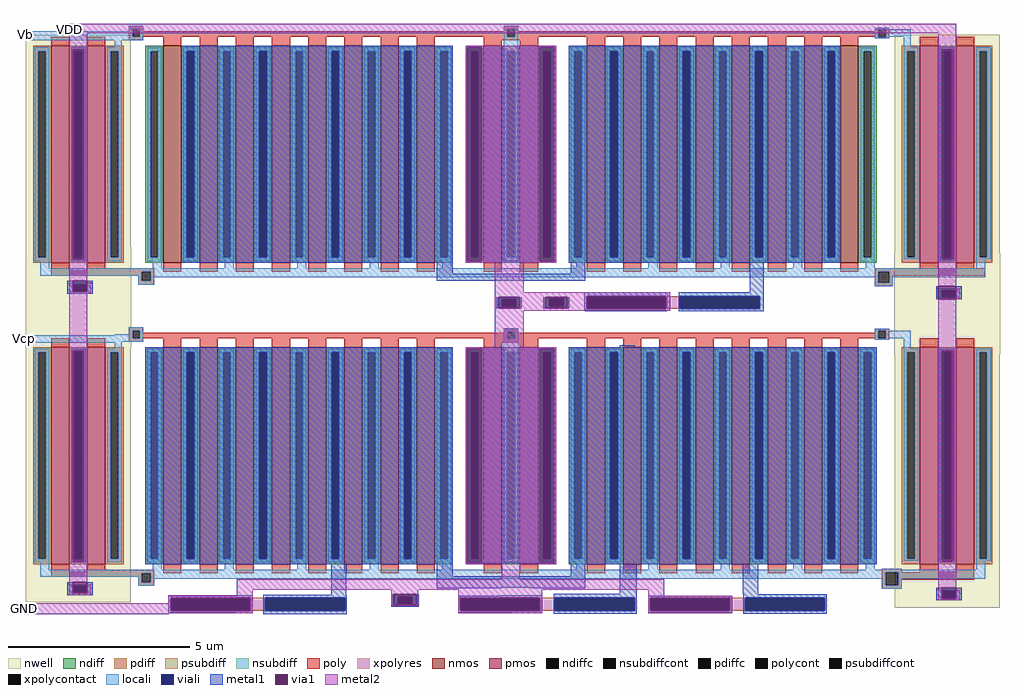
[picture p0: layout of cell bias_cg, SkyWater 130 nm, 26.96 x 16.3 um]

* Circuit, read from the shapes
.subckt bias_cg Vb Vcp GND VDD
XM1 n1 Vcp n2 GND sky130_fd_pr__nfet_01v8 w=6 l=0.5 m=16
XM2 n3 Vb n4 GND sky130_fd_pr__nfet_01v8 w=6 l=0.5 m=16
XM3 Vcp Vcp GND GND sky130_fd_pr__nfet_01v8 w=6 l=0.5 m=2
XM4 Vb Vb GND GND sky130_fd_pr__nfet_01v8 w=6 l=0.5 m=2
XM5 VDD n2 n2 VDD sky130_fd_pr__pfet_01v8 w=6 l=0.5 m=2
XM6 VDD n4 n4 VDD sky130_fd_pr__pfet_01v8 w=6 l=0.5 m=2
XM7 Vcp n2 VDD VDD sky130_fd_pr__pfet_01v8 w=6 l=0.5 m=2
XM8 Vb n4 VDD VDD sky130_fd_pr__pfet_01v8 w=6 l=0.5 m=2
XR9 n1 GND GND sky130_fd_pr__res_xhigh_po w=0.35 l=0.42 m=3
XR10 n3 GND GND sky130_fd_pr__res_xhigh_po w=0.35 l=0.385
.ends

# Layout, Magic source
magic
tech sky130A
magscale 1 2
<< nwell >>
rect -760 90 -180 1260
rect -761 -469 -177 90
rect 4040 53 4620 1260
rect -760 -1875 -180 -469
rect 4038 -506 4622 53
rect 4040 -1905 4620 -506
<< nmos >>
rect 0 0 100 1200
rect 200 0 300 1200
rect 400 0 500 1200
rect 600 0 700 1200
rect 800 0 900 1200
rect 1000 0 1100 1200
rect 1200 0 1300 1200
rect 1400 0 1500 1200
rect 1770 0 1870 1200
rect 1970 0 2070 1200
rect 2340 0 2440 1200
rect 2540 0 2640 1200
rect 2740 0 2840 1200
rect 2940 0 3040 1200
rect 3140 0 3240 1200
rect 3340 0 3440 1200
rect 3540 0 3640 1200
rect 3740 0 3840 1200
rect 0 -1665 100 -465
rect 200 -1665 300 -465
rect 400 -1665 500 -465
rect 600 -1665 700 -465
rect 800 -1665 900 -465
rect 1000 -1665 1100 -465
rect 1200 -1665 1300 -465
rect 1400 -1665 1500 -465
rect 1770 -1665 1870 -465
rect 1970 -1665 2070 -465
rect 2340 -1665 2440 -465
rect 2540 -1665 2640 -465
rect 2740 -1665 2840 -465
rect 2940 -1665 3040 -465
rect 3140 -1665 3240 -465
rect 3340 -1665 3440 -465
rect 3540 -1665 3640 -465
rect 3740 -1665 3840 -465
<< pmos >>
rect -620 0 -520 1200
rect -420 0 -320 1200
rect 4180 0 4280 1200
rect 4380 0 4480 1200
rect -620 -1665 -520 -465
rect -420 -1665 -320 -465
rect 4180 -1665 4280 -465
rect 4380 -1665 4480 -465
<< ndiff >>
rect -100 1170 0 1200
rect -100 30 -70 1170
rect -30 30 0 1170
rect -100 0 0 30
rect 100 1170 200 1200
rect 100 30 130 1170
rect 170 30 200 1170
rect 100 0 200 30
rect 300 1170 400 1200
rect 300 30 330 1170
rect 370 30 400 1170
rect 300 0 400 30
rect 500 1170 600 1200
rect 500 30 530 1170
rect 570 30 600 1170
rect 500 0 600 30
rect 700 1170 800 1200
rect 700 30 730 1170
rect 770 30 800 1170
rect 700 0 800 30
rect 900 1170 1000 1200
rect 900 30 930 1170
rect 970 30 1000 1170
rect 900 0 1000 30
rect 1100 1170 1200 1200
rect 1100 30 1130 1170
rect 1170 30 1200 1170
rect 1100 0 1200 30
rect 1300 1170 1400 1200
rect 1300 30 1330 1170
rect 1370 30 1400 1170
rect 1300 0 1400 30
rect 1500 1170 1600 1200
rect 1500 30 1530 1170
rect 1570 30 1600 1170
rect 1500 0 1600 30
rect 1670 1170 1770 1200
rect 1670 30 1700 1170
rect 1740 30 1770 1170
rect 1670 0 1770 30
rect 1870 1170 1970 1200
rect 1870 30 1900 1170
rect 1940 30 1970 1170
rect 1870 0 1970 30
rect 2070 1170 2170 1200
rect 2070 30 2100 1170
rect 2140 30 2170 1170
rect 2070 0 2170 30
rect 2240 1170 2340 1200
rect 2240 30 2270 1170
rect 2310 30 2340 1170
rect 2240 0 2340 30
rect 2440 1170 2540 1200
rect 2440 30 2470 1170
rect 2510 30 2540 1170
rect 2440 0 2540 30
rect 2640 1170 2740 1200
rect 2640 30 2670 1170
rect 2710 30 2740 1170
rect 2640 0 2740 30
rect 2840 1170 2940 1200
rect 2840 30 2870 1170
rect 2910 30 2940 1170
rect 2840 0 2940 30
rect 3040 1170 3140 1200
rect 3040 30 3070 1170
rect 3110 30 3140 1170
rect 3040 0 3140 30
rect 3240 1170 3340 1200
rect 3240 30 3270 1170
rect 3310 30 3340 1170
rect 3240 0 3340 30
rect 3440 1170 3540 1200
rect 3440 30 3470 1170
rect 3510 30 3540 1170
rect 3440 0 3540 30
rect 3640 1170 3740 1200
rect 3640 30 3670 1170
rect 3710 30 3740 1170
rect 3640 0 3740 30
rect 3840 1170 3940 1200
rect 3840 30 3870 1170
rect 3910 30 3940 1170
rect 3840 0 3940 30
rect -100 -495 0 -465
rect -100 -1635 -70 -495
rect -30 -1635 0 -495
rect -100 -1665 0 -1635
rect 100 -495 200 -465
rect 100 -1635 130 -495
rect 170 -1635 200 -495
rect 100 -1665 200 -1635
rect 300 -495 400 -465
rect 300 -1635 330 -495
rect 370 -1635 400 -495
rect 300 -1665 400 -1635
rect 500 -495 600 -465
rect 500 -1635 530 -495
rect 570 -1635 600 -495
rect 500 -1665 600 -1635
rect 700 -495 800 -465
rect 700 -1635 730 -495
rect 770 -1635 800 -495
rect 700 -1665 800 -1635
rect 900 -495 1000 -465
rect 900 -1635 930 -495
rect 970 -1635 1000 -495
rect 900 -1665 1000 -1635
rect 1100 -495 1200 -465
rect 1100 -1635 1130 -495
rect 1170 -1635 1200 -495
rect 1100 -1665 1200 -1635
rect 1300 -495 1400 -465
rect 1300 -1635 1330 -495
rect 1370 -1635 1400 -495
rect 1300 -1665 1400 -1635
rect 1500 -495 1600 -465
rect 1500 -1635 1530 -495
rect 1570 -1635 1600 -495
rect 1500 -1665 1600 -1635
rect 1670 -495 1770 -465
rect 1670 -1635 1700 -495
rect 1740 -1635 1770 -495
rect 1670 -1665 1770 -1635
rect 1870 -495 1970 -465
rect 1870 -1635 1900 -495
rect 1940 -1635 1970 -495
rect 1870 -1665 1970 -1635
rect 2070 -495 2170 -465
rect 2070 -1635 2100 -495
rect 2140 -1635 2170 -495
rect 2070 -1665 2170 -1635
rect 2240 -495 2340 -465
rect 2240 -1635 2270 -495
rect 2310 -1635 2340 -495
rect 2240 -1665 2340 -1635
rect 2440 -495 2540 -465
rect 2440 -1635 2470 -495
rect 2510 -1635 2540 -495
rect 2440 -1665 2540 -1635
rect 2640 -495 2740 -465
rect 2640 -1635 2670 -495
rect 2710 -1635 2740 -495
rect 2640 -1665 2740 -1635
rect 2840 -495 2940 -465
rect 2840 -1635 2870 -495
rect 2910 -1635 2940 -495
rect 2840 -1665 2940 -1635
rect 3040 -495 3140 -465
rect 3040 -1635 3070 -495
rect 3110 -1635 3140 -495
rect 3040 -1665 3140 -1635
rect 3240 -495 3340 -465
rect 3240 -1635 3270 -495
rect 3310 -1635 3340 -495
rect 3240 -1665 3340 -1635
rect 3440 -495 3540 -465
rect 3440 -1635 3470 -495
rect 3510 -1635 3540 -495
rect 3440 -1665 3540 -1635
rect 3640 -495 3740 -465
rect 3640 -1635 3670 -495
rect 3710 -1635 3740 -495
rect 3640 -1665 3740 -1635
rect 3840 -495 3940 -465
rect 3840 -1635 3870 -495
rect 3910 -1635 3940 -495
rect 3840 -1665 3940 -1635
<< pdiff >>
rect -720 1170 -620 1200
rect -720 30 -690 1170
rect -650 30 -620 1170
rect -720 0 -620 30
rect -520 1170 -420 1200
rect -520 30 -490 1170
rect -450 30 -420 1170
rect -520 0 -420 30
rect -320 1170 -220 1200
rect -320 30 -290 1170
rect -250 30 -220 1170
rect -320 0 -220 30
rect 4080 1170 4180 1200
rect 4080 30 4110 1170
rect 4150 30 4180 1170
rect 4080 0 4180 30
rect 4280 1170 4380 1200
rect 4280 30 4310 1170
rect 4350 30 4380 1170
rect 4280 0 4380 30
rect 4480 1170 4580 1200
rect 4480 30 4510 1170
rect 4550 30 4580 1170
rect 4480 0 4580 30
rect -720 -495 -620 -465
rect -720 -1635 -690 -495
rect -650 -1635 -620 -495
rect -720 -1665 -620 -1635
rect -520 -495 -420 -465
rect -520 -1635 -490 -495
rect -450 -1635 -420 -495
rect -520 -1665 -420 -1635
rect -320 -495 -220 -465
rect -320 -1635 -290 -495
rect -250 -1635 -220 -495
rect -320 -1665 -220 -1635
rect 4080 -495 4180 -465
rect 4080 -1635 4110 -495
rect 4150 -1635 4180 -495
rect 4080 -1665 4180 -1635
rect 4280 -495 4380 -465
rect 4280 -1635 4310 -495
rect 4350 -1635 4380 -495
rect 4280 -1665 4380 -1635
rect 4480 -495 4580 -465
rect 4480 -1635 4510 -495
rect 4550 -1635 4580 -495
rect 4480 -1665 4580 -1635
<< ndiffc >>
rect -70 30 -30 1170
rect 130 30 170 1170
rect 330 30 370 1170
rect 530 30 570 1170
rect 730 30 770 1170
rect 930 30 970 1170
rect 1130 30 1170 1170
rect 1330 30 1370 1170
rect 1530 30 1570 1170
rect 1700 30 1740 1170
rect 1900 30 1940 1170
rect 2100 30 2140 1170
rect 2270 30 2310 1170
rect 2470 30 2510 1170
rect 2670 30 2710 1170
rect 2870 30 2910 1170
rect 3070 30 3110 1170
rect 3270 30 3310 1170
rect 3470 30 3510 1170
rect 3670 30 3710 1170
rect 3870 30 3910 1170
rect -70 -1635 -30 -495
rect 130 -1635 170 -495
rect 330 -1635 370 -495
rect 530 -1635 570 -495
rect 730 -1635 770 -495
rect 930 -1635 970 -495
rect 1130 -1635 1170 -495
rect 1330 -1635 1370 -495
rect 1530 -1635 1570 -495
rect 1700 -1635 1740 -495
rect 1900 -1635 1940 -495
rect 2100 -1635 2140 -495
rect 2270 -1635 2310 -495
rect 2470 -1635 2510 -495
rect 2670 -1635 2710 -495
rect 2870 -1635 2910 -495
rect 3070 -1635 3110 -495
rect 3270 -1635 3310 -495
rect 3470 -1635 3510 -495
rect 3670 -1635 3710 -495
rect 3870 -1635 3910 -495
<< pdiffc >>
rect -690 30 -650 1170
rect -490 30 -450 1170
rect -290 30 -250 1170
rect 4110 30 4150 1170
rect 4310 30 4350 1170
rect 4510 30 4550 1170
rect -690 -1635 -650 -495
rect -490 -1635 -450 -495
rect -290 -1635 -250 -495
rect 4110 -1635 4150 -495
rect 4310 -1635 4350 -495
rect 4510 -1635 4550 -495
<< psubdiff >>
rect 1840 -200 1980 -190
rect 1840 -240 1870 -200
rect 1950 -240 1980 -200
rect 1840 -250 1980 -240
rect 2099 -199 2241 -190
rect 2099 -239 2131 -199
rect 2211 -239 2241 -199
rect 2099 -250 2241 -239
rect 1266 -1844 1406 -1834
rect 1266 -1884 1296 -1844
rect 1376 -1884 1406 -1844
rect 1266 -1894 1406 -1884
<< nsubdiff >>
rect -530 -120 -390 -110
rect -530 -160 -500 -120
rect -420 -160 -390 -120
rect -530 -170 -390 -160
rect 4270 -150 4410 -140
rect 4270 -190 4300 -150
rect 4380 -190 4410 -150
rect 4270 -200 4410 -190
rect -530 -1785 -390 -1775
rect -530 -1825 -500 -1785
rect -420 -1825 -390 -1785
rect -530 -1835 -390 -1825
rect 4270 -1815 4410 -1805
rect 4270 -1855 4300 -1815
rect 4380 -1855 4410 -1815
rect 4270 -1865 4410 -1855
<< psubdiffcont >>
rect 1870 -240 1950 -200
rect 2131 -239 2211 -199
rect 1296 -1884 1376 -1844
<< nsubdiffcont >>
rect -500 -160 -420 -120
rect 4300 -190 4380 -150
rect -500 -1825 -420 -1785
rect 4300 -1855 4380 -1815
<< poly >>
rect -190 1290 -110 1310
rect -190 1250 -170 1290
rect -130 1280 -110 1290
rect 1880 1290 1960 1310
rect 1880 1280 1900 1290
rect -130 1250 1900 1280
rect 1940 1280 1960 1290
rect 3930 1290 4010 1300
rect 3930 1280 3950 1290
rect 1940 1250 3950 1280
rect 3990 1250 4010 1290
rect -620 1200 -520 1250
rect -420 1200 -320 1250
rect -190 1230 -110 1250
rect 0 1200 100 1250
rect 200 1200 300 1250
rect 400 1200 500 1250
rect 600 1200 700 1250
rect 800 1200 900 1250
rect 1000 1200 1100 1250
rect 1200 1200 1300 1250
rect 1400 1200 1500 1250
rect 1770 1230 2070 1250
rect 1770 1200 1870 1230
rect 1970 1200 2070 1230
rect 2340 1200 2440 1250
rect 2540 1200 2640 1250
rect 2740 1200 2840 1250
rect 2940 1200 3040 1250
rect 3140 1200 3240 1250
rect 3340 1200 3440 1250
rect 3540 1200 3640 1250
rect 3740 1200 3840 1250
rect 3930 1240 4010 1250
rect 4180 1200 4280 1250
rect 4380 1200 4480 1250
rect -620 -40 -520 0
rect -420 -30 -320 0
rect -420 -40 -50 -30
rect -620 -50 -50 -40
rect 0 -50 100 0
rect 200 -50 300 0
rect 400 -50 500 0
rect 600 -50 700 0
rect 800 -50 900 0
rect 1000 -50 1100 0
rect 1200 -50 1300 0
rect 1400 -50 1500 0
rect 1770 -50 1870 0
rect 1970 -50 2070 0
rect 2340 -50 2440 0
rect 2540 -50 2640 0
rect 2740 -50 2840 0
rect 2940 -50 3040 0
rect 3140 -50 3240 0
rect 3340 -50 3440 0
rect 3540 -50 3640 0
rect 3740 -50 3840 0
rect 4180 -30 4280 0
rect 4380 -30 4480 0
rect 3930 -50 4540 -30
rect -620 -70 -120 -50
rect -140 -100 -120 -70
rect -70 -100 -50 -50
rect -140 -120 -50 -100
rect 3930 -110 3950 -50
rect 4010 -70 4540 -50
rect 4010 -110 4030 -70
rect 3930 -130 4030 -110
rect -190 -375 -110 -355
rect -190 -415 -170 -375
rect -130 -385 -110 -375
rect 1880 -380 1960 -360
rect 1880 -385 1900 -380
rect -130 -415 1900 -385
rect -620 -465 -520 -415
rect -420 -465 -320 -415
rect -190 -435 -110 -415
rect 0 -465 100 -415
rect 200 -465 300 -415
rect 400 -465 500 -415
rect 600 -465 700 -415
rect 800 -465 900 -415
rect 1000 -465 1100 -415
rect 1200 -465 1300 -415
rect 1400 -465 1500 -415
rect 1770 -420 1900 -415
rect 1940 -385 1960 -380
rect 3930 -375 4010 -365
rect 3930 -385 3950 -375
rect 1940 -415 3950 -385
rect 3990 -415 4010 -375
rect 1940 -420 2070 -415
rect 1770 -440 2070 -420
rect 1770 -465 1870 -440
rect 1970 -465 2070 -440
rect 2340 -465 2440 -415
rect 2540 -465 2640 -415
rect 2740 -465 2840 -415
rect 2940 -465 3040 -415
rect 3140 -465 3240 -415
rect 3340 -465 3440 -415
rect 3540 -465 3640 -415
rect 3740 -465 3840 -415
rect 3930 -425 4010 -415
rect 4180 -465 4280 -415
rect 4380 -465 4480 -415
rect -620 -1705 -520 -1665
rect -420 -1695 -320 -1665
rect -420 -1705 -50 -1695
rect -620 -1715 -50 -1705
rect 0 -1715 100 -1665
rect 200 -1715 300 -1665
rect 400 -1715 500 -1665
rect 600 -1715 700 -1665
rect 800 -1715 900 -1665
rect 1000 -1715 1100 -1665
rect 1200 -1715 1300 -1665
rect 1400 -1715 1500 -1665
rect 1770 -1715 1870 -1665
rect 1970 -1715 2070 -1665
rect 2340 -1715 2440 -1665
rect 2540 -1715 2640 -1665
rect 2740 -1715 2840 -1665
rect 2940 -1715 3040 -1665
rect 3140 -1715 3240 -1665
rect 3340 -1715 3440 -1665
rect 3540 -1715 3640 -1665
rect 3740 -1715 3840 -1665
rect 3970 -1710 4080 -1690
rect 4180 -1705 4280 -1665
rect 4380 -1705 4480 -1665
rect 4180 -1710 4480 -1705
rect -620 -1735 -120 -1715
rect -140 -1765 -120 -1735
rect -70 -1765 -50 -1715
rect -140 -1785 -50 -1765
rect 3970 -1780 3990 -1710
rect 4060 -1750 4480 -1710
rect 4060 -1780 4080 -1750
rect 3970 -1800 4080 -1780
<< polycont >>
rect -170 1250 -130 1290
rect 1900 1250 1940 1290
rect 3950 1250 3990 1290
rect -120 -100 -70 -50
rect 3950 -110 4010 -50
rect -170 -415 -130 -375
rect 1900 -420 1940 -380
rect 3950 -415 3990 -375
rect -120 -1765 -70 -1715
rect 3990 -1780 4060 -1710
<< xpolycontact >>
rect 2339 -253 2779 -183
rect 2856 -253 3296 -183
rect 40 -1921 480 -1851
rect 564 -1921 1004 -1851
rect 1640 -1921 2080 -1851
rect 2164 -1921 2604 -1851
rect 2690 -1921 3130 -1851
rect 3214 -1921 3654 -1851
<< xpolyres >>
rect 2779 -253 2856 -183
rect 480 -1921 564 -1851
rect 2080 -1921 2164 -1851
rect 3130 -1921 3214 -1851
<< locali >>
rect -190 1290 -110 1310
rect -190 1280 -170 1290
rect -760 1250 -170 1280
rect -130 1250 -110 1290
rect -760 1230 -110 1250
rect 1880 1290 1960 1310
rect 1880 1250 1900 1290
rect 1940 1250 1960 1290
rect -270 1190 -230 1230
rect -710 1170 -630 1190
rect -710 30 -690 1170
rect -650 30 -630 1170
rect -710 10 -630 30
rect -510 1170 -430 1190
rect -510 30 -490 1170
rect -450 30 -430 1170
rect -510 10 -430 30
rect -310 1170 -230 1190
rect -310 30 -290 1170
rect -250 30 -230 1170
rect -310 10 -230 30
rect -90 1170 -10 1190
rect -90 30 -70 1170
rect -30 30 -10 1170
rect -90 10 -10 30
rect 110 1170 190 1190
rect 110 30 130 1170
rect 170 30 190 1170
rect 110 10 190 30
rect 310 1170 390 1190
rect 310 30 330 1170
rect 370 30 390 1170
rect 310 10 390 30
rect 510 1170 590 1190
rect 510 30 530 1170
rect 570 30 590 1170
rect 510 10 590 30
rect 710 1170 790 1190
rect 710 30 730 1170
rect 770 30 790 1170
rect 710 10 790 30
rect 910 1170 990 1190
rect 910 30 930 1170
rect 970 30 990 1170
rect 910 10 990 30
rect 1110 1170 1190 1190
rect 1110 30 1130 1170
rect 1170 30 1190 1170
rect 1110 10 1190 30
rect 1310 1170 1390 1190
rect 1310 30 1330 1170
rect 1370 30 1390 1170
rect 1310 10 1390 30
rect 1510 1170 1590 1190
rect 1510 30 1530 1170
rect 1570 30 1590 1170
rect 1510 10 1590 30
rect 1680 1170 1760 1190
rect 1680 30 1700 1170
rect 1740 30 1760 1170
rect 1680 10 1760 30
rect 1880 1170 1960 1250
rect 3930 1290 4010 1300
rect 3930 1250 3950 1290
rect 3990 1250 4130 1290
rect 3930 1240 4010 1250
rect 4090 1190 4130 1250
rect 1880 30 1900 1170
rect 1940 30 1960 1170
rect 1880 10 1960 30
rect 2080 1170 2160 1190
rect 2080 30 2100 1170
rect 2140 30 2160 1170
rect 2080 10 2160 30
rect 2250 1170 2330 1190
rect 2250 30 2270 1170
rect 2310 30 2330 1170
rect 2250 10 2330 30
rect 2450 1170 2530 1190
rect 2450 30 2470 1170
rect 2510 30 2530 1170
rect 2450 10 2530 30
rect 2650 1170 2730 1190
rect 2650 30 2670 1170
rect 2710 30 2730 1170
rect 2650 10 2730 30
rect 2850 1170 2930 1190
rect 2850 30 2870 1170
rect 2910 30 2930 1170
rect 2850 10 2930 30
rect 3050 1170 3130 1190
rect 3050 30 3070 1170
rect 3110 30 3130 1170
rect 3050 10 3130 30
rect 3250 1170 3330 1190
rect 3250 30 3270 1170
rect 3310 30 3330 1170
rect 3250 10 3330 30
rect 3450 1170 3530 1190
rect 3450 30 3470 1170
rect 3510 30 3530 1170
rect 3450 10 3530 30
rect 3650 1170 3730 1190
rect 3650 30 3670 1170
rect 3710 30 3730 1170
rect 3650 10 3730 30
rect 3850 1170 3930 1190
rect 3850 30 3870 1170
rect 3910 30 3930 1170
rect 3850 10 3930 30
rect 4090 1170 4170 1190
rect 4090 30 4110 1170
rect 4150 30 4170 1170
rect 4090 20 4170 30
rect 4290 1170 4370 1190
rect 4290 30 4310 1170
rect 4350 30 4370 1170
rect 4290 20 4370 30
rect 4490 1170 4570 1190
rect 4490 30 4510 1170
rect 4550 30 4570 1170
rect 4490 20 4570 30
rect -680 -30 -630 10
rect -60 -30 -10 10
rect 340 -30 390 10
rect 740 -30 790 10
rect 1140 -30 1190 10
rect 1540 -30 1590 10
rect 2280 -30 2330 10
rect 2680 -30 2730 10
rect 3080 -30 3130 10
rect 3480 -30 3530 10
rect 3880 -30 3930 10
rect 4490 -30 4540 20
rect -680 -50 4540 -30
rect -680 -70 -120 -50
rect -140 -100 -120 -70
rect -70 -80 3950 -50
rect -70 -100 -50 -80
rect -520 -120 -400 -110
rect -140 -120 -50 -100
rect 3930 -110 3950 -80
rect 4010 -80 4540 -50
rect 4010 -110 4030 -80
rect -520 -160 -500 -120
rect -420 -160 -400 -120
rect 3930 -130 4030 -110
rect -520 -170 -400 -160
rect 4280 -150 4400 -140
rect 1850 -200 1970 -190
rect 1850 -240 1870 -200
rect 1950 -240 1970 -200
rect 1850 -250 1970 -240
rect 2110 -199 2231 -190
rect 2110 -239 2131 -199
rect 2211 -239 2231 -199
rect 2110 -250 2231 -239
rect 4280 -190 4300 -150
rect 4380 -190 4400 -150
rect 4280 -200 4400 -190
rect -190 -375 -110 -355
rect -190 -395 -170 -375
rect -270 -400 -170 -395
rect -770 -415 -170 -400
rect -130 -415 -110 -375
rect -770 -435 -110 -415
rect 1880 -380 1960 -360
rect 1880 -420 1900 -380
rect 1940 -420 1960 -380
rect -770 -440 -230 -435
rect -270 -475 -230 -440
rect -710 -495 -630 -475
rect -710 -1635 -690 -495
rect -650 -1635 -630 -495
rect -710 -1655 -630 -1635
rect -510 -495 -430 -475
rect -510 -1635 -490 -495
rect -450 -1635 -430 -495
rect -510 -1655 -430 -1635
rect -310 -495 -230 -475
rect -310 -1635 -290 -495
rect -250 -1635 -230 -495
rect -310 -1655 -230 -1635
rect -90 -495 -10 -475
rect -90 -1635 -70 -495
rect -30 -1635 -10 -495
rect -90 -1655 -10 -1635
rect 110 -495 190 -475
rect 110 -1635 130 -495
rect 170 -1635 190 -495
rect 110 -1655 190 -1635
rect 310 -495 390 -475
rect 310 -1635 330 -495
rect 370 -1635 390 -495
rect 310 -1655 390 -1635
rect 510 -495 590 -475
rect 510 -1635 530 -495
rect 570 -1635 590 -495
rect 510 -1655 590 -1635
rect 710 -495 790 -475
rect 710 -1635 730 -495
rect 770 -1635 790 -495
rect 710 -1655 790 -1635
rect 910 -495 990 -475
rect 910 -1635 930 -495
rect 970 -1635 990 -495
rect 910 -1655 990 -1635
rect 1110 -495 1190 -475
rect 1110 -1635 1130 -495
rect 1170 -1635 1190 -495
rect 1110 -1655 1190 -1635
rect 1310 -495 1390 -475
rect 1310 -1635 1330 -495
rect 1370 -1635 1390 -495
rect 1310 -1655 1390 -1635
rect 1510 -495 1590 -475
rect 1510 -1635 1530 -495
rect 1570 -1635 1590 -495
rect 1510 -1655 1590 -1635
rect 1680 -495 1760 -475
rect 1680 -1635 1700 -495
rect 1740 -1635 1760 -495
rect 1680 -1655 1760 -1635
rect 1880 -495 1960 -420
rect 3930 -375 4010 -365
rect 3930 -415 3950 -375
rect 3990 -415 4130 -375
rect 3930 -425 4010 -415
rect 4090 -475 4130 -415
rect 1880 -1635 1900 -495
rect 1940 -1635 1960 -495
rect 1880 -1655 1960 -1635
rect 2080 -495 2160 -475
rect 2080 -1635 2100 -495
rect 2140 -1635 2160 -495
rect 2080 -1655 2160 -1635
rect 2250 -495 2330 -475
rect 2250 -1635 2270 -495
rect 2310 -1635 2330 -495
rect 2250 -1655 2330 -1635
rect 2450 -495 2530 -475
rect 2450 -1635 2470 -495
rect 2510 -1635 2530 -495
rect 2450 -1655 2530 -1635
rect 2650 -495 2730 -475
rect 2650 -1635 2670 -495
rect 2710 -1635 2730 -495
rect 2650 -1655 2730 -1635
rect 2850 -495 2930 -475
rect 2850 -1635 2870 -495
rect 2910 -1635 2930 -495
rect 2850 -1655 2930 -1635
rect 3050 -495 3130 -475
rect 3050 -1635 3070 -495
rect 3110 -1635 3130 -495
rect 3050 -1655 3130 -1635
rect 3250 -495 3330 -475
rect 3250 -1635 3270 -495
rect 3310 -1635 3330 -495
rect 3250 -1655 3330 -1635
rect 3450 -495 3530 -475
rect 3450 -1635 3470 -495
rect 3510 -1635 3530 -495
rect 3450 -1655 3530 -1635
rect 3650 -495 3730 -475
rect 3650 -1635 3670 -495
rect 3710 -1635 3730 -495
rect 3650 -1655 3730 -1635
rect 3850 -495 3930 -475
rect 3850 -1635 3870 -495
rect 3910 -1635 3930 -495
rect 3850 -1655 3930 -1635
rect 4090 -495 4170 -475
rect 4090 -1635 4110 -495
rect 4150 -1635 4170 -495
rect 4090 -1645 4170 -1635
rect 4290 -495 4370 -475
rect 4290 -1635 4310 -495
rect 4350 -1635 4370 -495
rect 4290 -1645 4370 -1635
rect 4490 -495 4570 -475
rect 4490 -1635 4510 -495
rect 4550 -1635 4570 -495
rect 4490 -1645 4570 -1635
rect -680 -1695 -630 -1655
rect -60 -1695 -10 -1655
rect 340 -1695 390 -1655
rect 740 -1695 790 -1655
rect 1140 -1695 1190 -1655
rect 1540 -1695 1590 -1655
rect 2280 -1695 2330 -1655
rect 2680 -1695 2730 -1655
rect 3080 -1695 3130 -1655
rect 3480 -1695 3530 -1655
rect 3880 -1695 3930 -1655
rect 3970 -1695 4080 -1690
rect 4490 -1695 4540 -1645
rect -680 -1710 4540 -1695
rect -680 -1715 3990 -1710
rect -680 -1735 -120 -1715
rect -140 -1765 -120 -1735
rect -70 -1745 3990 -1715
rect -70 -1765 -50 -1745
rect -520 -1785 -400 -1775
rect -140 -1785 -50 -1765
rect 3970 -1780 3990 -1745
rect 4060 -1745 4540 -1710
rect 4060 -1780 4080 -1745
rect -520 -1825 -500 -1785
rect -420 -1825 -400 -1785
rect 3970 -1800 4080 -1780
rect -520 -1835 -400 -1825
rect 4280 -1815 4400 -1805
rect 1276 -1844 1396 -1834
rect 1276 -1884 1296 -1844
rect 1376 -1884 1396 -1844
rect 1276 -1894 1396 -1884
rect 4280 -1855 4300 -1815
rect 4380 -1855 4400 -1815
rect 4280 -1865 4400 -1855
<< viali >>
rect -490 30 -450 1170
rect 130 30 170 1170
rect 530 30 570 1170
rect 930 30 970 1170
rect 1330 30 1370 1170
rect 1700 30 1740 1170
rect 2100 30 2140 1170
rect 2470 30 2510 1170
rect 2870 30 2910 1170
rect 3270 30 3310 1170
rect 3670 30 3710 1170
rect 4310 30 4350 1170
rect -500 -160 -420 -120
rect 1870 -240 1950 -200
rect 2131 -239 2211 -199
rect 2339 -253 2779 -183
rect 2856 -253 3296 -183
rect 4300 -190 4380 -150
rect -490 -1635 -450 -495
rect 130 -1635 170 -495
rect 530 -1635 570 -495
rect 930 -1635 970 -495
rect 1330 -1635 1370 -495
rect 1700 -1635 1740 -495
rect 2100 -1635 2140 -495
rect 2470 -1635 2510 -495
rect 2870 -1635 2910 -495
rect 3270 -1635 3310 -495
rect 3670 -1635 3710 -495
rect 4310 -1635 4350 -495
rect -500 -1825 -420 -1785
rect 40 -1921 480 -1851
rect 564 -1921 1004 -1851
rect 1296 -1884 1376 -1844
rect 1640 -1921 2080 -1851
rect 2164 -1921 2604 -1851
rect 2690 -1921 3130 -1851
rect 3214 -1921 3654 -1851
rect 4300 -1855 4380 -1815
<< metal1 >>
rect -510 1180 -430 1190
rect -510 20 -500 1180
rect -440 20 -430 1180
rect -510 10 -430 20
rect 100 1170 1600 1200
rect 100 30 130 1170
rect 170 30 530 1170
rect 570 30 930 1170
rect 970 30 1330 1170
rect 1370 30 1600 1170
rect 100 0 1600 30
rect 1670 1190 2170 1200
rect 1670 10 1680 1190
rect 1760 10 2080 1190
rect 2160 10 2170 1190
rect 1670 0 2170 10
rect 2240 1170 3740 1200
rect 2240 30 2470 1170
rect 2510 30 2870 1170
rect 2910 30 3270 1170
rect 3310 30 3670 1170
rect 3710 30 3740 1170
rect 2240 0 3740 30
rect 4290 1180 4370 1190
rect 4290 20 4300 1180
rect 4360 20 4370 1180
rect 4290 10 4370 20
rect 1510 -60 1600 0
rect 2250 -60 2330 0
rect 1510 -100 2330 -60
rect -530 -160 -500 -100
rect -420 -160 -390 -100
rect -530 -170 -390 -160
rect 3240 -163 3317 0
rect 2326 -183 2799 -163
rect 1840 -250 1850 -190
rect 1970 -250 1980 -190
rect 2099 -250 2110 -190
rect 2231 -250 2241 -190
rect 2326 -253 2339 -183
rect 2779 -253 2799 -183
rect 2326 -265 2799 -253
rect 2846 -164 3317 -163
rect 2846 -183 3316 -164
rect 2846 -253 2856 -183
rect 3296 -253 3316 -183
rect 4270 -200 4280 -130
rect 4380 -200 4410 -130
rect 2327 -266 2782 -265
rect 2846 -266 3316 -253
rect 2520 -465 2603 -454
rect -510 -485 -430 -475
rect -510 -1645 -500 -485
rect -440 -1645 -430 -485
rect -510 -1655 -430 -1645
rect -100 -495 1600 -465
rect -100 -1635 130 -495
rect 170 -1635 530 -495
rect 570 -1635 930 -495
rect 970 -1635 1330 -495
rect 1370 -1635 1600 -495
rect -100 -1665 1600 -1635
rect 1670 -475 2170 -465
rect 1670 -1655 1680 -475
rect 1760 -1655 2080 -475
rect 2160 -1655 2170 -475
rect 1670 -1660 2170 -1655
rect 2240 -495 3940 -465
rect 2240 -1635 2470 -495
rect 2510 -1635 2870 -495
rect 2910 -1635 3270 -495
rect 3310 -1635 3670 -495
rect 3710 -1635 3940 -495
rect 2240 -1660 3940 -1635
rect 4290 -485 4370 -475
rect 4290 -1645 4300 -485
rect 4360 -1645 4370 -485
rect 4290 -1655 4370 -1645
rect 928 -1710 1012 -1665
rect -530 -1825 -500 -1765
rect -420 -1825 -390 -1765
rect -530 -1835 -390 -1825
rect 928 -1833 1010 -1710
rect 1510 -1730 1600 -1665
rect 2250 -1665 3940 -1660
rect 2250 -1730 2330 -1665
rect 1510 -1796 2330 -1730
rect 1510 -1797 1863 -1796
rect 2036 -1797 2330 -1796
rect 2520 -1745 2616 -1665
rect 2520 -1829 2615 -1745
rect 406 -1838 494 -1837
rect 28 -1851 494 -1838
rect 28 -1921 40 -1851
rect 480 -1921 494 -1851
rect 28 -1934 494 -1921
rect 406 -1935 494 -1934
rect 552 -1840 1010 -1833
rect 552 -1851 1012 -1840
rect 552 -1921 564 -1851
rect 1004 -1921 1012 -1851
rect 1260 -1890 1270 -1830
rect 1400 -1890 1410 -1830
rect 1869 -1837 1971 -1836
rect 1869 -1838 2092 -1837
rect 1260 -1891 1276 -1890
rect 1394 -1891 1410 -1890
rect 1260 -1900 1410 -1891
rect 1628 -1851 2092 -1838
rect 552 -1940 1012 -1921
rect 1628 -1921 1640 -1851
rect 2080 -1921 2092 -1851
rect 1628 -1934 2092 -1921
rect 1930 -1936 2092 -1934
rect 2156 -1851 2615 -1829
rect 3202 -1830 3286 -1665
rect 3202 -1831 3664 -1830
rect 2156 -1921 2164 -1851
rect 2604 -1921 2615 -1851
rect 2156 -1938 2615 -1921
rect 2678 -1851 3142 -1839
rect 2678 -1921 2690 -1851
rect 3130 -1921 3142 -1851
rect 2678 -1934 3142 -1921
rect 3203 -1851 3664 -1831
rect 3203 -1921 3214 -1851
rect 3654 -1921 3664 -1851
rect 4270 -1855 4300 -1795
rect 4380 -1855 4410 -1795
rect 4270 -1865 4410 -1855
rect 3203 -1937 3664 -1921
<< via1 >>
rect -500 1170 -440 1180
rect -500 30 -490 1170
rect -490 30 -450 1170
rect -450 30 -440 1170
rect -500 20 -440 30
rect 1680 1170 1760 1190
rect 1680 30 1700 1170
rect 1700 30 1740 1170
rect 1740 30 1760 1170
rect 1680 10 1760 30
rect 2080 1170 2160 1190
rect 2080 30 2100 1170
rect 2100 30 2140 1170
rect 2140 30 2160 1170
rect 2080 10 2160 30
rect 4300 1170 4360 1180
rect 4300 30 4310 1170
rect 4310 30 4350 1170
rect 4350 30 4360 1170
rect 4300 20 4360 30
rect -500 -120 -420 -100
rect -500 -160 -420 -120
rect 1850 -200 1970 -190
rect 1850 -240 1870 -200
rect 1870 -240 1950 -200
rect 1950 -240 1970 -200
rect 1850 -250 1970 -240
rect 2110 -199 2231 -190
rect 2110 -239 2131 -199
rect 2131 -239 2211 -199
rect 2211 -239 2231 -199
rect 2110 -250 2231 -239
rect 2339 -253 2779 -183
rect 4280 -150 4380 -130
rect 4280 -190 4300 -150
rect 4300 -190 4380 -150
rect 4280 -200 4380 -190
rect -500 -495 -440 -485
rect -500 -1635 -490 -495
rect -490 -1635 -450 -495
rect -450 -1635 -440 -495
rect -500 -1645 -440 -1635
rect 1680 -495 1760 -475
rect 1680 -1635 1700 -495
rect 1700 -1635 1740 -495
rect 1740 -1635 1760 -495
rect 1680 -1655 1760 -1635
rect 2080 -495 2160 -475
rect 2080 -1635 2100 -495
rect 2100 -1635 2140 -495
rect 2140 -1635 2160 -495
rect 2080 -1655 2160 -1635
rect 4300 -495 4360 -485
rect 4300 -1635 4310 -495
rect 4310 -1635 4350 -495
rect 4350 -1635 4360 -495
rect 4300 -1645 4360 -1635
rect -500 -1785 -420 -1765
rect -500 -1825 -420 -1785
rect 40 -1921 480 -1851
rect 1270 -1844 1400 -1830
rect 1270 -1884 1296 -1844
rect 1296 -1884 1376 -1844
rect 1376 -1884 1400 -1844
rect 1270 -1890 1400 -1884
rect 1276 -1891 1394 -1890
rect 1640 -1921 2080 -1851
rect 2690 -1921 3130 -1851
rect 4300 -1815 4380 -1795
rect 4300 -1855 4380 -1815
<< metal2 >>
rect -520 1270 4380 1320
rect -520 1180 -420 1270
rect -520 20 -500 1180
rect -440 20 -420 1180
rect -520 -100 -420 20
rect 1670 1190 2170 1200
rect 1670 10 1680 1190
rect 1760 10 2080 1190
rect 2160 10 2170 1190
rect 1670 0 2170 10
rect 4280 1180 4380 1270
rect 4280 20 4300 1180
rect 4360 20 4380 1180
rect -520 -160 -500 -100
rect -420 -160 -400 -110
rect -520 -170 -400 -160
rect 1830 -163 1990 0
rect 4280 -130 4380 20
rect -520 -485 -420 -170
rect 1830 -183 2799 -163
rect 1830 -190 2339 -183
rect 1830 -250 1850 -190
rect 1970 -250 2110 -190
rect 2231 -250 2339 -190
rect 1830 -253 2339 -250
rect 2779 -253 2799 -183
rect 1830 -265 2799 -253
rect 4380 -200 4400 -140
rect 1830 -465 1990 -265
rect -520 -1645 -500 -485
rect -440 -1645 -420 -485
rect -520 -1765 -420 -1645
rect 1670 -475 2170 -465
rect 1670 -1655 1680 -475
rect 1760 -1655 2080 -475
rect 2160 -1655 2170 -475
rect 1670 -1665 2170 -1655
rect 4280 -485 4380 -200
rect 4280 -1645 4300 -485
rect 4360 -1645 4380 -485
rect 1830 -1666 1990 -1665
rect 1869 -1704 1971 -1666
rect 1870 -1748 1970 -1704
rect -520 -1825 -500 -1765
rect -420 -1825 -400 -1775
rect -520 -1835 -400 -1825
rect 406 -1807 2766 -1748
rect 406 -1837 494 -1807
rect 28 -1851 494 -1837
rect 28 -1880 40 -1851
rect -770 -1921 40 -1880
rect 480 -1921 494 -1851
rect 1260 -1830 1408 -1807
rect 1260 -1890 1270 -1830
rect 1400 -1890 1408 -1830
rect 1260 -1891 1276 -1890
rect 1394 -1891 1408 -1890
rect 1260 -1895 1408 -1891
rect 1628 -1851 2094 -1807
rect -770 -1935 494 -1921
rect 1628 -1921 1640 -1851
rect 2080 -1921 2094 -1851
rect 1628 -1935 2094 -1921
rect 2678 -1839 2766 -1807
rect 4280 -1795 4380 -1645
rect 2678 -1851 3143 -1839
rect 2678 -1921 2690 -1851
rect 3130 -1921 3143 -1851
rect 4280 -1855 4300 -1795
rect 4380 -1855 4400 -1805
rect 4280 -1865 4400 -1855
rect 2678 -1935 3143 -1921
rect -770 -1940 30 -1935
rect 1930 -1936 2094 -1935
<< labels >>
rlabel locali -760 1260 -760 1260 7 Vb
port 1 w
rlabel locali -770 -420 -770 -420 7 Vcp
port 2 w
rlabel metal2 -770 -1910 -770 -1910 7 GND
port 4 w
rlabel metal2 -520 1290 -520 1290 7 VDD
port 5 w
<< end >>
